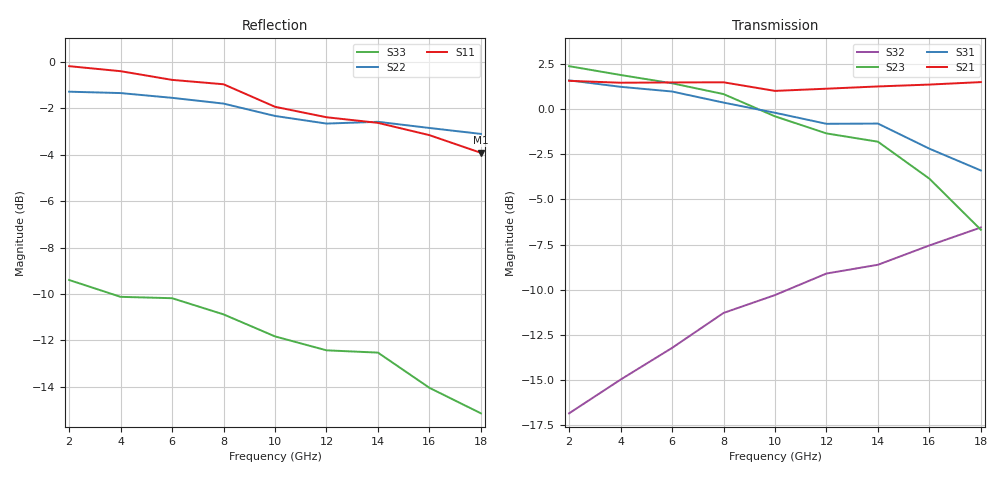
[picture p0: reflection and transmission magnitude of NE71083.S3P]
!! NE71083
! IDSS=20 40 120 MA (MIN TYP MAX)
! Vp=-0.5 -1.1 -3.5 V (MIN TYP MAX)
! gm=20 50 100 mS (MIN TYP MAX)
! @ VDS=3V  IDS=10MA
# GHZ S MA R 50
! SCATTERING PARAMETERS: (3 port)
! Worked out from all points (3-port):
!   9 points, 2 GHz to 18 GHz, reference 50 ohm
!   strongest paths, dB at 2 GHz, 6 GHz, 10 GHz, 14 GHz, 18 GHz:
!     S21: 1.6, 1.5, 1.0, 1.3, 1.5
!     S31: 1.6, 1.0, -0.2, -0.8, -3.4
!     S23: 2.4, 1.4, -0.4, -1.8, -6.7
!     S32: -16.8, -13.2, -10.3, -8.6, -6.6
!   lowest |S11| = -3.9 dB at 18 GHz (marker M1), VSWR 4.51, Z = 19.5 - j41.7 ohm
!   |S11| at or under -10 dB: nowhere
2  0.9796 -11.7  0.0687 83.1  0.1352 76.0
   1.197 164.6  0.8631 -7.6  1.315 -8.9
   1.201 -5.7  0.1439 18.8  0.3391 167.6
4  0.9555 -23.4  0.1235 79.1  0.2765 68.9
   1.183 147.9  0.8572 -14.9  1.243 -19.1
   1.153 -12.5  0.1784 33.7  0.3119 151.3
6  0.9152 -33.9  0.1805 72.8  0.386 61.0
   1.185 134.1  0.8372 -21.8  1.179 -27.3
   1.119 -17.7  0.2183 39.2  0.3098 139.2
8  0.8955 -42.0  0.2279 69.8  0.4623 56.4
   1.186 121.7  0.8136 -28.7  1.1 -34.2
   1.042 -23.2  0.2728 40.4  0.2859 125.5
10  0.8008 -54.9  0.2882 61.7  0.5688 44.9
    1.123 107.9  0.7652 -35.4  0.9548 -40.9
    0.9768 -25.0  0.3057 38.3  0.2563 119.2
12  0.7603 -64.8  0.3317 57.5  0.6445 39.3
    1.139 95.9  0.7368 -42.3  0.8564 -48.1
    0.9104 -29.2  0.3507 38.0  0.2392 107.2
14  0.7394 -69.8  0.3659 56.3  0.6673 35.7
    1.155 92.1  0.7433 -46.6  0.8123 -49.1
    0.9118 -30.3  0.3708 39.4  0.2365 108.1
16  0.6957 -80.9  0.4027 53.1  0.7434 29.4
    1.169 77.2  0.7209 -53.6  0.6418 -60.7
    0.7769 -35.7  0.4194 38.0  0.1986 78.8
18  0.6373 -95.2  0.4529 48.3  0.8122 21.4
    1.188 63.3  0.7 -62.5  0.4634 -71.9
    0.6762 -39.1  0.4703 37.0  0.175 55.3
